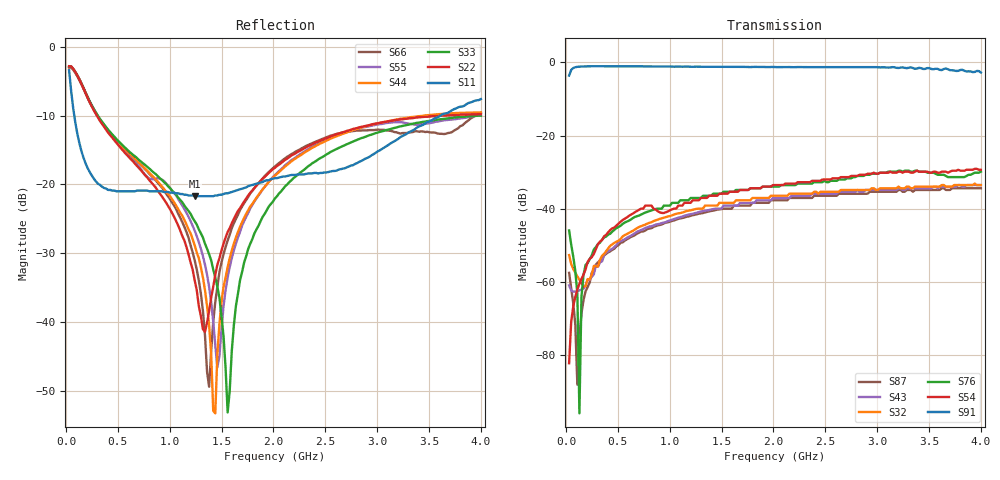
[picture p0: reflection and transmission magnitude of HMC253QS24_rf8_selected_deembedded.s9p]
!Hittite Microwave Corporation
!12 Elizabeth Drive
!Chelmsford, MA 01824
!Tel: 978-250-3343
!Fax: 978-250-3373
!Device: HMC253QS24, DC-2.5 GHz GaAS MMIC SP8T Non-Reflective Switch in 24-lead QSOP package
!Misc: Port 1 = RFCom, Port 2 = RF1, Port 3 = RF2, Port 4 = RF3, Port 5 = RF4, Port 6 = RF5, Port 7 = RF6, Port 8 = RF7, Port 9 = RF8, RF8 selected, Vdd=+5V
# MHZ S MA R 50
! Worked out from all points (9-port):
!   201 points, 30 MHz to 4 GHz, reference 50 ohm
!   strongest paths, dB at 30 MHz, 1.022 GHz, 2.015 GHz, 3.007 GHz, 4 GHz:
!     S91: -3.6, -1.2, -1.3, -1.3, -2.8
!     S54: -82.3, -40.2, -33.6, -30.5, -29.4
!     S76: -46.0, -38.4, -34.0, -30.5, -29.9
!     S32: -52.7, -41.8, -36.5, -34.9, -33.6
!     S43: -61.0, -43.0, -37.1, -34.9, -33.6
!     S87: -57.6, -43.4, -37.7, -35.4, -34.4
!   lowest |S11| = -21.7 dB at 1.241 GHz (marker M1), VSWR 1.18, Z = 56.7 - j5.64 ohm
!   |S11| at or under -10 dB: 79.79 MHz to 3.611 GHz (3.531 GHz wide, 191 % of centre)
